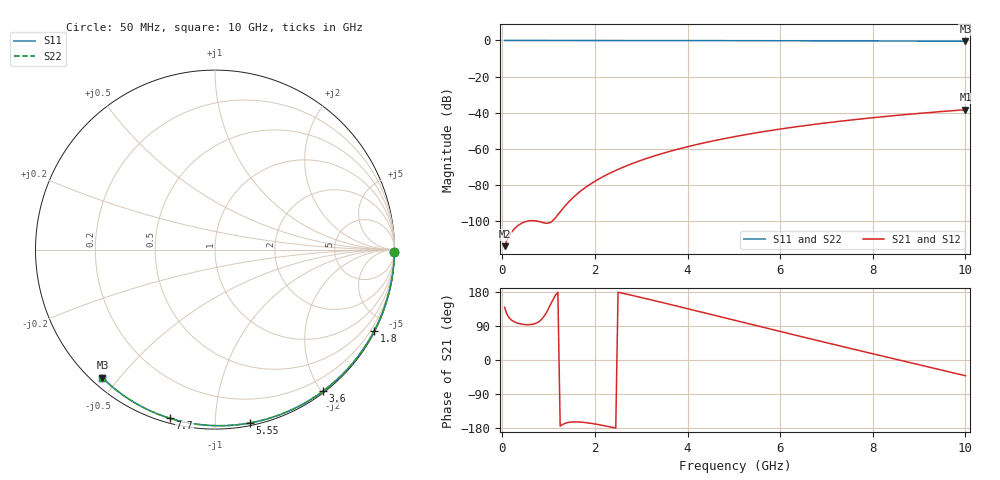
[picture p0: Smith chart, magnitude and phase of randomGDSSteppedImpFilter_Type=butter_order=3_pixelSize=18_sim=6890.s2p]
! freq	dB(S11)	phase(S11)	dB(S12)	phase(S12)
!  dB(S21)	phase(S21)	dB(S22)	phase(S22)
!S-par simulation data
#  GHz  S  DB  R 50
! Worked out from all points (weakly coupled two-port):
!   200 points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, 50 MHz to 10 GHz, reference 50 ohm
!   highest |S21| = -38.39 dB at 10 GHz (marker M1); lowest = -114.0 dB at 50 MHz (marker M2)
!   lowest |S11| = -0.4 dB at 10 GHz (marker M3), VSWR 39.11, Z = 1.54 - j22.6 ohm
!   |S11| at or under -10 dB: nowhere
!   |S22| runs from -0.4 to 0.0 dB; largest |S21 - S12| = 0
!   S11 on the Smith chart (normalised r, x): 50 MHz: open; 1.8 GHz: 0.04, -4.18; 3.6 GHz: 0.02, -2.02; 5.55 GHz: 0.02, -1.22; 7.7 GHz: 0.02, -0.77; 10 GHz: 0.03, -0.45
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0.05  -0.00 -0.8  -114.00 138.9  -114.00 138.9  -0.00 -0.8
0.9  -0.02 -13.6  -101.11 115.1  -101.11 115.1  -0.02 -13.6
1.75  -0.03 -26.2  -82.33 -164.5  -82.33 -164.5  -0.03 -26.2
1.8  -0.03 -26.9  -81.39 -165.2  -81.39 -165.2  -0.03 -26.9
1.85  -0.04 -27.6  -80.50 -166.0  -80.50 -166.0  -0.04 -27.6
1.9  -0.04 -28.4  -79.65 -166.8  -79.65 -166.8  -0.04 -28.4
2.05  -0.04 -30.6  -77.28 -169.9  -77.28 -169.9  -0.04 -30.6
2.25  -0.04 -33.5  -74.48 -174.6  -74.48 -174.6  -0.04 -33.5
2.45  -0.05 -36.4  -72.01 -179.7  -72.01 -179.7  -0.05 -36.4
2.65  -0.05 -39.2  -69.80 174.8  -69.80 174.8  -0.05 -39.2
3  -0.06 -44.2  -66.40 164.9  -66.40 164.9  -0.06 -44.2
3.4  -0.07 -49.8  -63.07 153.3  -63.07 153.3  -0.07 -49.8
3.6  -0.07 -52.6  -61.58 147.3  -61.58 147.3  -0.07 -52.6
4.3  -0.09 -62.2  -57.07 126.4  -57.07 126.4  -0.09 -62.2
5.05  -0.11 -72.1  -53.14 103.8  -53.14 103.8  -0.11 -72.1
5.55  -0.13 -78.6  -50.90 88.8  -50.90 88.8  -0.13 -78.6
6.1  -0.15 -85.6  -48.72 72.3  -48.72 72.3  -0.15 -85.6
6.7  -0.18 -93.0  -46.62 54.5  -46.62 54.5  -0.18 -93.0
7.7  -0.24 -105.0  -43.62 25.2  -43.62 25.2  -0.24 -105.0
8.35  -0.29 -112.6  -41.93 6.3  -41.93 6.3  -0.29 -112.6
9.15  -0.36 -121.7  -40.09 -16.8  -40.09 -16.8  -0.36 -121.7
10  -0.44 -131.3  -38.39 -41.5  -38.39 -41.5  -0.44 -131.3
